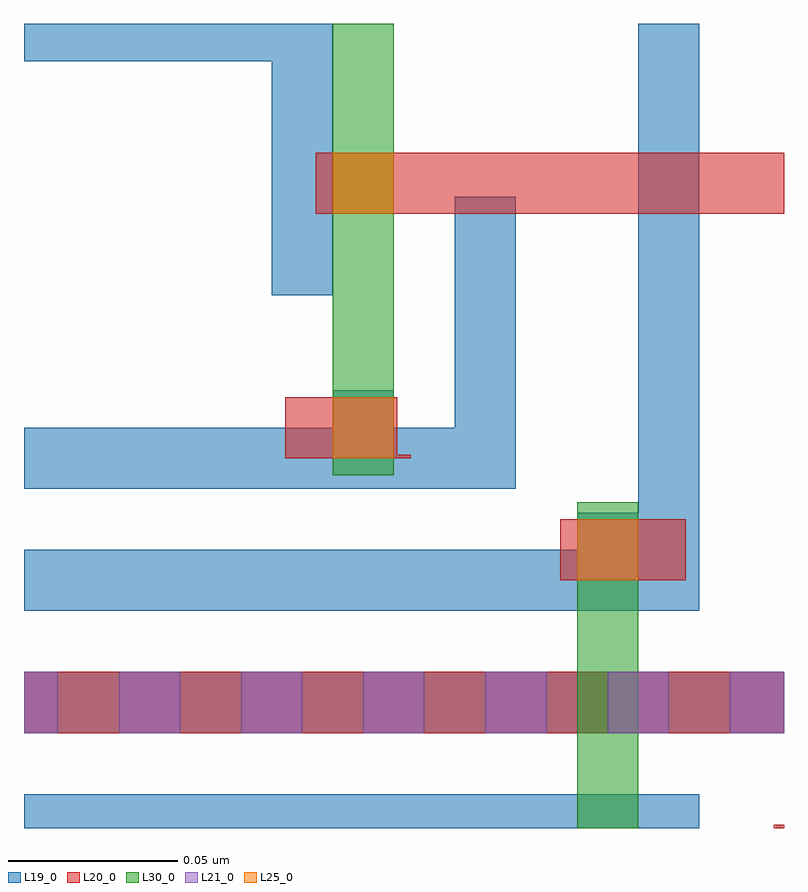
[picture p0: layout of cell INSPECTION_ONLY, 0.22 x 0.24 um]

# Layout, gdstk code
import gdstk
lib = gdstk.Library(unit=1e-6, precision=2.5e-10)
def R(c, l, rs):  # rectangles x0, y0, x1, y1
    for r in rs: c.add(gdstk.rectangle(r[:2], r[2:], *l))
def A(c, l, x, y, w, h, nx, ny, dx, dy):  # array of equal rectangles
    R(c, l, [(x+i*dx, y+j*dy, x+i*dx+w, y+j*dy+h) for i in range(nx) for j in range(ny)])
def P(c, l, *ps):  # polygons
    for p in ps: c.add(gdstk.Polygon(p, *l))
L19_0 = (19, 0)
L20_0 = (20, 0)
L21_0 = (21, 0)
L25_0 = (25, 0)
L30_0 = (30, 0)

inspection_only = lib.new_cell('INSPECTION_ONLY')
R(inspection_only, L19_0, [(5.345,8.873,5.544,8.883), (5.345,8.901,5.569,8.919), (5.345,8.901,5.569,8.919), (5.345,8.901,5.562,8.919), (5.345,8.901,5.562,8.919), (5.562,8.901,5.569,8.919), (5.562,8.901,5.569,8.919), (5.508,8.944,5.526,8.966), (5.436,8.98,5.454,9.002)])
P(inspection_only, L19_0, [(5.418,9.03),(5.418,9.099),(5.345,9.099),(5.345,9.11),(5.436,9.11),(5.436,9.03)],
  [(5.345,8.973),(5.345,8.991),(5.472,8.991),(5.472,9.059),(5.49,9.059),(5.49,8.973)],
  [(5.345,8.937),(5.345,8.955),(5.526,8.955),(5.526,9.11),(5.544,9.11),(5.544,8.937)])
R(inspection_only, L20_0, [(5.566,8.873,5.569,8.874), (5.345,8.901,5.569,8.919), (5.503,8.946,5.54,8.964), (5.431,9.054,5.569,9.072)])
P(inspection_only, L20_0, [(5.422,8.982),(5.422,9),(5.455,9),(5.455,8.983),(5.459,8.983),(5.459,8.982)])
A(inspection_only, L21_0, 5.373, 8.901, 0.018, 0.018, 5, 1, 0.036, 0)
R(inspection_only, L21_0, [(5.345,8.901,5.355,8.919), (5.553,8.901,5.569,8.919), (5.508,8.946,5.526,8.964), (5.436,8.982,5.454,9)])
R(inspection_only, L25_0, [(5.508,8.946,5.526,8.964), (5.436,8.982,5.454,9), (5.436,9.054,5.454,9.072)])
R(inspection_only, L30_0, [(5.508,8.873,5.526,8.969), (5.436,8.977,5.454,9.11)])

lib.write_gds('INSPECTION_ONLY.gds')
